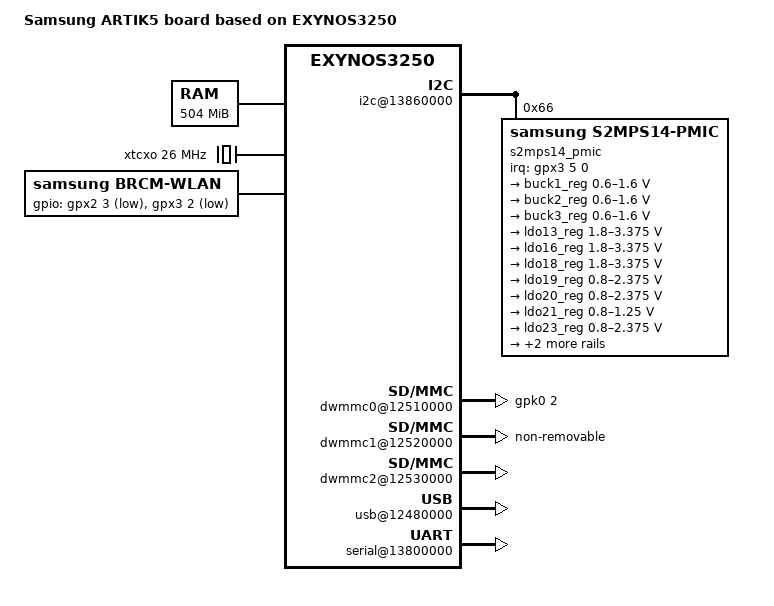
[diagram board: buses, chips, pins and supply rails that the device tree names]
/*
 * SAMSUNG ARTIK5 board device tree source
 *
 * Copyright (c) 2015 Samsung Electronics Co., Ltd.
 *		http://www.samsung.com
 *
 * This program is free software; you can redistribute it and/or modify
 * it under the terms of the GNU General Public License version 2 as
 * published by the Free Software Foundation.
*/

/dts-v1/;
#include "exynos3250.dtsi"

/ {
	model = "Samsung ARTIK5 board based on EXYNOS3250";
	compatible = "samsung,artik5", "samsung,exynos3250";

	chosen {
		bootargs = "console=ttySAC2,115200 vmalloc=256M ess_setup=0x46000000";
	};

	memory {
		reg = <0x40000000 0x1F800000>;
	};

	fixed-rate-clocks {
		#address-cells = <1>;
		#size-cells = <0>;

		xrtcxti: clock@0 {
			compatible = "fixed-clock";
			reg = <0>;
			clock-frequency = <32768>;
			#clock-cells = <0>;
			clock-output-names = "xrtcxti";
		};

		xusbxti: clock@1 {
			compatible = "fixed-clock";
			clock-frequency = <24000000>;
			reg = <1>;
			#clock-cells = <0>;
			clock-output-names = "xusbxti";
		};

		xxti: clock@2 {
			compatible = "fixed-clock";
			reg = <2>;
			clock-frequency = <0>;
			#clock-cells = <0>;
			clock-output-names = "xxti";
			};

		xtcxo: clock@3 {
			compatible = "fixed-clock";
			reg = <3>;
			clock-frequency = <26000000>;
			#clock-cells = <0>;
			clock-output-names = "xtcxo";
		};

		audiocdclk: clock@4 {
			compatible = "fixed-clock";
			reg = <4>;
			clock-frequency = <0>;
			#clock-cells = <0>;
			clock-output-names = "audiocdclk";
		};
	};

	i2c@13860000 {
		status = "okay";
		samsung,i2c-sda-delay = <100>;
		samsung,i2c-max-bus-freq = <400000>;
		#size-cells = <0>;

		s2mps14_pmic@66 {
			compatible = "samsung,s2mps14-pmic";
			reg = <0x66>;
			interrupts = <5 0 0>;
			interrupt-parent = <&gpx3>;
			pinctrl-names = "default";
			pinctrl-0 = <&pmic_irq &pm_wrsti>;
			/* RTC: wtsr/smpl */
                        wtsr_en = <1>; /* enable */
                        smpl_en = <1>; /* enable */
                        wtsr_timer_val = <3>;   /* 1000ms */
                        smpl_timer_val = <4>;   /* 500ms */
                        check_jigon = <0>; /* do not check jigon */
                        /* RTC: If it's first boot, reset rtc to 1/1/2014 12:00:00(Wed) */
                        init_time,sec = <0>;
                        init_time,min = <0>;
                        init_time,hour = <12>;
                        init_time,mday = <1>;
                        init_time,mon = <0>;
                        init_time,year = <114>;
                        init_time,wday = <3>;

			regulators {
				buck1_reg: BUCK1 {
					regulator-name = "vdd_mif";
					regulator-min-microvolt = <600000>;
					regulator-max-microvolt = <1600000>;
					regulator-always-on;
					regulator-boot-on;
					regulator-ramp-delay = <12000>;
					regulator-initial-mode = <1>;
				};

				buck2_reg: BUCK2 {
					regulator-name = "vdd_arm";
					regulator-min-microvolt = <600000>;
					regulator-max-microvolt = <1600000>;
					regulator-always-on;
					regulator-boot-on;
					regulator-ramp-delay = <12000>;
					regulator-initial-mode = <1>;
				};

				buck3_reg: BUCK3 {
					regulator-name = "vdd_int";
					regulator-min-microvolt = <600000>;
					regulator-max-microvolt = <1600000>;
					regulator-always-on;
					regulator-boot-on;
					regulator-ramp-delay = <12000>;
					regulator-initial-mode = <1>;
				};

				ldo13_reg: LDO13 {
					regulator-name = "vdd_zb_2.8";
					regulator-min-microvolt = <1800000>;
					regulator-max-microvolt = <3375000>;
					regulator-initial-mode = <1>;
				};

				ldo16_reg: LDO16 {
					regulator-name = "vdd_lcd_3.3";
					regulator-min-microvolt = <1800000>;
					regulator-max-microvolt = <3375000>;
					regulator-initial-mode = <1>;
				};

				ldo18_reg: LDO18 {
					regulator-name = "vcc_peri_device_2.8";
					regulator-min-microvolt = <1800000>;
					regulator-max-microvolt = <3375000>;
					regulator-initial-mode = <1>;
				};

				ldo19_reg: LDO19 {
					regulator-name = "vcc_avdd_1.8";
					regulator-min-microvolt = <800000>;
					regulator-max-microvolt = <2375000>;
					regulator-initial-mode = <1>;
				};

				ldo20_reg: LDO20 {
					regulator-name = "vcc_peri_device_1.8";
					regulator-min-microvolt = <800000>;
					regulator-max-microvolt = <2375000>;
					regulator-initial-mode = <1>;
				};

				ldo21_reg: LDO21 {
					regulator-name = "zbcore_1.25";
					regulator-min-microvolt = <800000>;
					regulator-max-microvolt = <1250000>;
					regulator-initial-mode = <1>;
				};

				ldo23_reg: LDO23 {
					regulator-name = "vcc_peri_1.8";
					regulator-min-microvolt = <800000>;
					regulator-max-microvolt = <2375000>;
					regulator-initial-mode = <1>;
				};

				ldo6_reg: LDO6 {
                                        regulator-name = "VDD_USB_AP_1.0V";
                                        regulator-min-microvolt = <1000000>;
                                        regulator-max-microvolt = <1000000>;
                                        regulator-always-on;
					regulator-initial-mode = <1>;
                                };

				ldo8_reg: LDO8 {
                                        regulator-name = "VDD_UOTG_AP_3.3V";
                                        regulator-min-microvolt = <3000000>;
                                        regulator-max-microvolt = <3000000>;
                                };

				ldo2_reg: LDO2 {
					regulator-always-on;
					regulator-initial-mode = <1>;
                                };

				ldo4_reg: LDO4 {
					regulator-always-on;
                                        regulator-initial-mode = <1>;
                                };

				ldo5_reg: LDO5 {
					regulator-always-on;
                                        regulator-initial-mode = <1>;
                                };

				ldo7_reg: LDO7 {
					regulator-always-on;
                                        regulator-initial-mode = <1>;
                                };
			};
		};
	};

	dwmmc0@12510000 {
		status = "okay";
		num-slots = <1>;
		broken-cd;
		bypass-smu;
		fixed_volt;
		only_once_tune;
		extra_tuning;
		supports-highspeed;
		enable-cache-control;
		sw_data_timeout;
		fifo-depth = <0x80>;
		card-detect-delay = <200>;
		samsung,dw-mshc-ciu-div = <3>;
		samsung,dw-mshc-sdr-timing = <3 0 2 1>;
		samsung,dw-mshc-ddr-timing = <3 0 4 2>;
		samsung,dw-mshc-hs200-timing = <3 0 2 0>;
		samsung,dw-mshc-ddr200-timing = <1 1 2 0>;
		num-ref-clks = <8>;
		gpios = <&gpk0 2 0x1>;
		ciu_clkin = <25 50 50 100 200 100 200 200>;
		pinctrl-names = "default";
		pinctrl-0 = <&sd0_clk &sd0_cmd &sd0_bus1 &sd0_bus4 &sd0_bus8>;

		slot@0 {
			reg = <0>;
			bus-width = <8>;
		};
	};

	dwmmc1@12520000 {
		status = "okay";
		num-slots = <1>;
		channel = <1>;
		caps-control;
		bypass-smu;
		clock-gate;
		enable-cclk-on-suspend;
		fixed_volt;
		only_once_tune;
		supports-highspeed;
		broken-cd;
		non-removable;
		enable-sdio-wakeup;
		sw_data_timeout;
		keep-power-in-suspend;
		pm-ignore-notify;
		cd-type-external;
		cd-type = <2>;
		use-broken-voltage;
		fifo-depth = <0x40>;
		card-detect-delay = <200>;
		qos_int_level = <222000>;
		samsung,dw-mshc-ciu-div = <3>;
		samsung,dw-mshc-sdr-timing = <3 0 3 0>;
		samsung,dw-mshc-ddr-timing = <3 0 2 0>;
		clk_pin = "gpk1-0";
		clk_addr = "11000000.pinctrl";
		clk_val = <0x3>;
		clk_str_num = <4>;
		num-ref-clks = <8>;
		ciu_clkin = <25 50 50 100 200 100 200 400>;
		pinctrl-names = "default";
		pinctrl-0 = <&sd1_clk &sd1_cmd &sd1_bus1 &sd1_bus4>;

		slot@0 {
			reg = <0>;
			bus-width = <4>;
			disable-wp;
		};
	};

	dwmmc2@12530000 {
		status = "okay";
		num-slots = <1>;
		bypass-smu;
		supports-highspeed;
		fixed_volt;
		cd-type = <1>;
		fifo-depth = <0x80>;
		card-detect-delay = <200>;
		samsung,dw-mshc-ciu-div = <3>;
		samsung,dw-mshc-sdr-timing = <3 0 2 1>;
		samsung,dw-mshc-ddr-timing = <3 0 4 2>;
		num-ref-clks = <8>;
		ciu_clkin = <25 50 50 100 200 100 200 200>;
		pinctrl-names = "default";
		pinctrl-0 = <&sd2_clk &sd2_cmd &sd2_cd &sd2_bus1 &sd2_bus4>;

		slot@0 {
			reg = <0>;
			bus-width = <4>;
			disable-wp;
		};
	};

        ion {
                compatible = "samsung,exynos5430-ion";

		contig-names = "mfc_sh",
				"video",
				"mfc_fw",
				"mfc_nfw";

		contig = <2 0x100000 0x0>,
			<11 0xA00000 0x0>,
			<8 0x100000 0x0>,
			<12 0x100000 0x0>;

                ion_noncontig_heap {
                        id-type = <0 0>;
                };

		exynos_contig_heap {
			id-type = <4 6>;
		};

        };

	fimd_fb: fimd_fb {
                /* gpx0[6]- TE external interrupt pin */
                gpios = <&gpx0 4 0xf>;
		lcd-3.0-supply = <&ldo16_reg>;
		lcd-1.8-supply = <&ldo19_reg>;
                fimd: fimd_ctrl {
                        samsung,left_margin = <1>;
                        samsung,right_margin = <1>;
                        samsung,upper_margin = <1>;
                        samsung,lower_margin = <1>;
                        samsung,hsync_len = <1>;
                        samsung,vsync_len = <1>;
                        samsung,xres = <240>;
                        samsung,yres = <240>;
                        samsung,virtual_x = <240>;
                        samsung,virtual_y = <240>;

                        samsung,width = <24>;
                        samsung,height = <24>;
                        samsung,max_bpp = <32>;
                        samsung,default_bpp = <24>;

                        fb_driver_data {
                                fb_win_variant_0 {
                                        has_osd_c = <1>;
                                        has_osd_d = <0>;
                                        has_osd_alpha = <0>;
                                        osd_size_off = <0x08>;
                                        palette_size = <256>;
                                        VALID_BPP_1248 = <1>;
                                        VALID_BPP_13 = <1>;
                                        VALID_BPP_15 = <1>;
                                        VALID_BPP_16 = <1>;
                                        VALID_BPP_18 = <1>;
                                        VALID_BPP_19 = <1>;
                                        VALID_BPP_24 = <1>;
                                        VALID_BPP_25 = <1>;
                                        VALID_BPP_32 = <1>;
                                };
                                fb_win_variant_1 {
                                        has_osd_c = <1>;
                                        has_osd_d = <1>;
                                        has_osd_alpha = <1>;
                                        osd_size_off = <0x0c>;
                                        palette_size = <256>;
                                        VALID_BPP_1248 = <1>;
                                        VALID_BPP_13 = <1>;
                                        VALID_BPP_15 = <1>;
                                        VALID_BPP_16 = <1>;
                                        VALID_BPP_18 = <1>;
                                        VALID_BPP_19 = <1>;
                                        VALID_BPP_24 = <1>;
                                        VALID_BPP_25 = <1>;
                                        VALID_BPP_32 = <1>;
                                };
                                fb_win_variant_2 {
                                        has_osd_c = <1>;
                                        has_osd_d = <1>;
                                        has_osd_alpha = <1>;
                                        osd_size_off = <0x0c>;
                                        palette_size = <256>;
                                        VALID_BPP_1248 = <1>;
                                        VALID_BPP_13 = <1>;
                                        VALID_BPP_15 = <1>;
                                        VALID_BPP_16 = <1>;
                                        VALID_BPP_18 = <1>;
                                        VALID_BPP_19 = <1>;
                                        VALID_BPP_24 = <1>;
                                        VALID_BPP_25 = <1>;
                                        VALID_BPP_32 = <1>;
                                };
                                fb_win_variant_3 {
                                        has_osd_c = <1>;
                                        has_osd_d = <0>;
                                        has_osd_alpha = <1>;
                                        osd_size_off = <0x0>;
                                        palette_size = <256>;
                                        VALID_BPP_1248 = <1>;
                                        VALID_BPP_13 = <1>;
                                        VALID_BPP_15 = <1>;
                                        VALID_BPP_16 = <1>;
                                        VALID_BPP_18 = <1>;
                                        VALID_BPP_19 = <1>;
                                        VALID_BPP_24 = <1>;
                                        VALID_BPP_25 = <1>;
                                        VALID_BPP_32 = <1>;
                                };
                                fb_win_variant_4 {
                                        has_osd_c = <1>;
                                        has_osd_d = <0>;
                                        has_osd_alpha = <1>;
                                        osd_size_off = <0x0>;
                                        palette_size = <256>;
                                        VALID_BPP_1248 = <1>;
                                        VALID_BPP_13 = <1>;
                                        VALID_BPP_15 = <1>;
                                        VALID_BPP_16 = <1>;
                                        VALID_BPP_18 = <1>;
                                        VALID_BPP_19 = <1>;
                                        VALID_BPP_24 = <1>;
                                        VALID_BPP_25 = <1>;
                                        VALID_BPP_32 = <1>;
                                };
                        };
                };

                mipi_dsi: mipi_dsi {
                        /* gpm0[4]-Reset, gpd0[0]-LCD_BL_EN */
                        gpios = <&gpm0 4 0x1>, <&gpd0 0 0x1>;
                        interrupt-parent = <&gic>;
                        interrupts = <0 83 0>;

                        /* Interface definition: 0 - DSIM_COMMAND,
                                                 1 - DSIM_VIDEO */
                        e_interface = <0>;

                        /* Pixel format : 0 - DSIM_CMD_3BPP,
                                          1 - DSIM_CMD_8BPP,
                                          2 - DSIM_CMD_12BPP,
                                          3 - DSIM_CMD_16BPP,
                                          4 - DSIM_VID_16BPP_565,
                                          5 - DSIM_VID_18BPP_666PACKED,
                                          6 - DSIM_18BPP_666LOOSELYPACKED,
                                          7 - DSIM_24BPP_888 */
                        e_pixel_format = <7>;

                        /* main frame fifo auto flush at VSYNC pulse */
                        auto_flush = <0>;
                        eot_disable = <0>;
                        auto_vertical_cnt = <0>;
                        hse = <0>;
                        hfp = <0>;
                        hbp = <0>;
                        hsa = <0>;

                        /* num of data lane : 0 - DSIM_DATA_LANE_1,
                                              1 - DSIM_DATA_LANE_2,
                                              2 - DSIM_DATA_LANE_3,
                                              3 - DSIM_DATA_LANE_4 */
                        e_no_data_lane = <0>;

                        /* byte clock divider : 0 - DSIM_PLL_OUT_DIV8,
                                                1 - DSIM_EXT_CLK_DIV8,
                                                2 - DSIM_EXT_CLK_BYPASS */
                        e_byte_clk = <0>;

                        /* Burst mode : 0 - DSIM_NON_BURST_SYNC_EVENT,
                                        2 - DSIM_NON_BURST_SYNC_PULSE,
                                        1 - DSIM_BURST
                                        4 - DSIM_NON_VIDEO_MODE */
                        e_burst_mode = <1>;

                        /* PMS
                           - 1. LCD_S6E8AA0 : p - 4, m - 80, s - 2
                           - 2. LCD_S6E3FA0(COMMAND): p - 2, m - 46, s - 1
                           - 3. LCD_S6E3FA0(VIDEO): p - 4, m - 75, s - 1
                           - 4. LCD_S6E3HA0(COMMAND): p - 2, m - 46, s - 1
                           - 5. LCD_S6E63J0X03(CMD):  p - 3, m - 125, s -1 */
                        p = <3>;
                        m = <110>;
                        s = <3>;

                        /* D-PHY PLL stable time spec :min = 200usec ~ max 400usec */
                        pll_stable_time = <0x400>;
                        /* escape clk : 7MHz */
                        esc_clk = <7000000>;
                        /* stop state holding counter after bta change count 0 ~ 0xfff */
                        stop_holding_cnt = <0x0f>;
                        /* bta timeout 0 ~ 0xff */
                        bta_timeout = <0xff>;
                        /* lp rx timeout 0 ~ 0xffff */
                        rx_timeout = <0xffff>;
                };
        };

	sysreg_localout: sysreg_localout@10010000 {
		compatible = "samsung,exynos5-sysreg_localout";
		reg = <0x10010000 0x2000>;
	};

	mdev_0: mdev_output {
		compatible = "samsung,exynos5-mdev";
	};

	usb@12480000 {
		vusb_d-supply = <&ldo6_reg>;
		vusb_a-supply = <&ldo8_reg>;
		status = "okay";
	};

	serial@13800000 {
		status = "okay";
	};

	pinctrl@11000000 {
		cfg_wlanen: cfg-wlanen {
			samsung,pins = "gpx2-3";
			samsung,pin-function = <1>;
			samsung,pin-pud = <0>;
			samsung,pin-drv = <3>;
			samsung,pin-con-pdn = <3>;
			samsung,pin-pud-pdn = <0>;
		};

		cfg_wlanhostwake: cfg-wlanhostwake {
			samsung,pins = "gpx3-2";
			samsung,pin-function = <0>;
			samsung,pin-pud = <1>;
			samsung,pin-con-pdn = <2>;
			samsung,pin-pud-pdn = <0>;
		};
	};

	wlan {
		compatible = "samsung,brcm-wlan";
		gpios = <&gpx2 3 0x1	/* WLAN_EN */
			 &gpx3 2 0xF	/* WLAN_HOST_WAKE */
			>;
		pinctrl-names = "default";
		pinctrl-0=<&cfg_wlanen &cfg_wlanhostwake>;
		status = "okay";
	};
};

&pmic_irq {
	samsung,pins = "gpx3-5";
	samsung,pin-function = <0xf>;
	samsung,pin-pud = <3>;
	samsung,pin-drv = <3>;
};

&pm_wrsti {
	samsung,pins = "gpe1-2";
	samsung,pin-con-pdn = <3>;
};
